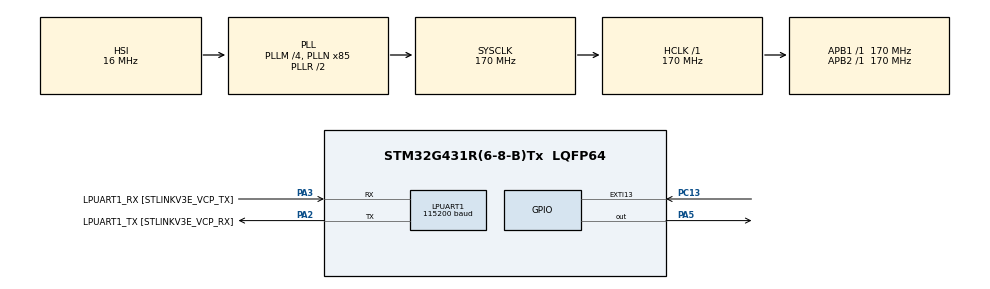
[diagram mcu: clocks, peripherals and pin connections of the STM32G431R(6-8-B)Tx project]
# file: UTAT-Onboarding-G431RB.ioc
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LPUART1.BaudRate=115200
LPUART1.WordLength=UART_WORDLENGTH_8B
Mcu.Family=STM32G4
Mcu.Name=STM32G431R(6-8-B)Tx
Mcu.Package=LQFP64
NVIC.EXTI15_10_IRQn=true\:0\:0\:false\:false\:true\:true\:true\:true
NVIC.PriorityGroup=NVIC_PRIORITYGROUP_4
PA13.GPIO_Label=T_SWDIO
PA13.Mode=Serial_Wire
PA13.Signal=SYS_JTMS-SWDIO
PA14.GPIO_Label=T_SWCLK
PA14.Mode=Serial_Wire
PA14.Signal=SYS_JTCK-SWCLK
PA2.GPIO_Label=LPUART1_TX [STLINKV3E_VCP_RX]
PA2.Mode=Asynchronous
PA2.Signal=LPUART1_TX
PA3.GPIO_Label=LPUART1_RX [STLINKV3E_VCP_TX]
PA3.Mode=Asynchronous
PA3.Signal=LPUART1_RX
PA5.Signal=GPIO_Output
PB3.GPIO_Label=T_SWO
PB3.Signal=SYS_JTDO-SWO
PC13.Signal=GPXTI13
PC14-OSC32_IN.Mode=LSE-External-Oscillator
PC14-OSC32_IN.Signal=RCC_OSC32_IN
PC15-OSC32_OUT.Mode=LSE-External-Oscillator
PC15-OSC32_OUT.Signal=RCC_OSC32_OUT
PF0-OSC_IN.Mode=HSE-External-Oscillator
PF0-OSC_IN.Signal=RCC_OSC_IN
PF1-OSC_OUT.Mode=HSE-External-Oscillator
PF1-OSC_OUT.Signal=RCC_OSC_OUT
ProjectManager.HeapSize=0x200
ProjectManager.StackSize=0x400
ProjectManager.TargetToolchain=STM32CubeIDE
RCC.ADC12Freq_Value=170000000
RCC.AHBFreq_Value=170000000
RCC.APB1Freq_Value=170000000
RCC.APB1TimFreq_Value=170000000
RCC.APB2Freq_Value=170000000
RCC.APB2TimFreq_Value=170000000
RCC.CortexFreq_Value=170000000
RCC.EXTERNAL_CLOCK_VALUE=12288000
RCC.HCLKFreq_Value=170000000
RCC.HSE_VALUE=24000000
RCC.HSI48_VALUE=48000000
RCC.HSI_VALUE=16000000
RCC.PLLM=RCC_PLLM_DIV4
RCC.PLLN=85
RCC.RTCClockSelection=RCC_RTCCLKSOURCE_LSE
RCC.SYSCLKFreq_VALUE=170000000
RCC.SYSCLKSource=RCC_SYSCLKSOURCE_PLLCLK
RCC.USBFreq_Value=170000000
RCC.VCOOutputFreq_Value=340000000
TIM16.Prescaler=8000-1
VP_SYS_VS_DBSignals.Mode=DisableDeadBatterySignals
VP_TIM16_VS_ClockSourceINT.Mode=Enable_Timer
board=NUCLEO-G431RB

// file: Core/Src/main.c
/* USER CODE BEGIN Header */
/**
  ******************************************************************************
  * @file           : main.c
  * @brief          : Main program body
  ******************************************************************************
  * @attention
  *
  * Copyright (c) 2024 STMicroelectronics.
  * All rights reserved.
  *
  * This software is licensed under terms that can be found in the LICENSE file
  * in the root directory of this software component.
  * If no LICENSE file comes with this software, it is provided AS-IS.
  *
  ******************************************************************************
  */
/* USER CODE END Header */
#include "main.h"

UART_HandleTypeDef hlpuart1;

TIM_HandleTypeDef htim16;

void SystemClock_Config(void);
static void MX_GPIO_Init(void);
static void MX_LPUART1_UART_Init(void);
static void MX_TIM16_Init(void);

/* USER CODE BEGIN 0 */
int mode = 0;

void HAL_GPIO_EXTI_Callback(uint16_t GPIO_Pin){
	if(GPIO_Pin == GPIO_PIN_13){
		mode++;
		if(mode == 3){
			mode = 0;
		}
	}
}
/* USER CODE END 0 */

int main(void)
{

  /* MCU Configuration--------------------------------------------------------*/

  /* Reset of all peripherals, Initializes the Flash interface and the Systick. */
  HAL_Init();

  /* Configure the system clock */
  SystemClock_Config();

  /* Initialize all configured peripherals */
  MX_GPIO_Init();
  MX_LPUART1_UART_Init();
  MX_TIM16_Init();
  /* USER CODE BEGIN 2 */

  HAL_TIM_Base_Start_IT(&htim16);
  uint16_t timer_val;
  timer_val = __HAL_TIM_GET_COUNTER(&htim16);

  /* USER CODE END 2 */

  /* Infinite loop */
  /* USER CODE BEGIN WHILE */
  while (1)
  {
	  if (mode == 0){
	  		if(__HAL_TIM_GET_COUNTER(&htim16) - timer_val >= 10000){
	  			HAL_GPIO_TogglePin(GPIOA, GPIO_PIN_5);
	  			timer_val = __HAL_TIM_GET_COUNTER(&htim16);
	  		}
	  }

	  if (mode == 1){
	  	  		if(__HAL_TIM_GET_COUNTER(&htim16) - timer_val >= 5000){
	  	  			HAL_GPIO_TogglePin(GPIOA, GPIO_PIN_5);
	  	  			timer_val = __HAL_TIM_GET_COUNTER(&htim16);
	  	  		}
	  }
	  if (mode == 2){
	  	  		if(__HAL_TIM_GET_COUNTER(&htim16) - timer_val >= 2500){
	  	  			HAL_GPIO_TogglePin(GPIOA, GPIO_PIN_5);
	  	  			timer_val = __HAL_TIM_GET_COUNTER(&htim16);
	  			}
	  }

    /* USER CODE END WHILE */

  }
}
  /* USER CODE END 3 */

void SystemClock_Config(void)
{
  RCC_OscInitTypeDef RCC_OscInitStruct = {0};
  RCC_ClkInitTypeDef RCC_ClkInitStruct = {0};

  /** Configure the main internal regulator output voltage
  */
  HAL_PWREx_ControlVoltageScaling(PWR_REGULATOR_VOLTAGE_SCALE1_BOOST);

  /** Initializes the RCC Oscillators according to the specified parameters
  * in the RCC_OscInitTypeDef structure.
  */
  RCC_OscInitStruct.OscillatorType = RCC_OSCILLATORTYPE_HSI;
  RCC_OscInitStruct.HSIState = RCC_HSI_ON;
  RCC_OscInitStruct.HSICalibrationValue = RCC_HSICALIBRATION_DEFAULT;
  RCC_OscInitStruct.PLL.PLLState = RCC_PLL_ON;
  RCC_OscInitStruct.PLL.PLLSource = RCC_PLLSOURCE_HSI;
  RCC_OscInitStruct.PLL.PLLM = RCC_PLLM_DIV4;
  RCC_OscInitStruct.PLL.PLLN = 85;
  RCC_OscInitStruct.PLL.PLLP = RCC_PLLP_DIV2;
  RCC_OscInitStruct.PLL.PLLQ = RCC_PLLQ_DIV2;
  RCC_OscInitStruct.PLL.PLLR = RCC_PLLR_DIV2;
  if (HAL_RCC_OscConfig(&RCC_OscInitStruct) != HAL_OK)
  {
    Error_Handler();
  }

  /** Initializes the CPU, AHB and APB buses clocks
  */
  RCC_ClkInitStruct.ClockType = RCC_CLOCKTYPE_HCLK|RCC_CLOCKTYPE_SYSCLK
                              |RCC_CLOCKTYPE_PCLK1|RCC_CLOCKTYPE_PCLK2;
  RCC_ClkInitStruct.SYSCLKSource = RCC_SYSCLKSOURCE_PLLCLK;
  RCC_ClkInitStruct.AHBCLKDivider = RCC_SYSCLK_DIV1;
  RCC_ClkInitStruct.APB1CLKDivider = RCC_HCLK_DIV1;
  RCC_ClkInitStruct.APB2CLKDivider = RCC_HCLK_DIV1;

  if (HAL_RCC_ClockConfig(&RCC_ClkInitStruct, FLASH_LATENCY_4) != HAL_OK)
  {
    Error_Handler();
  }
}

static void MX_LPUART1_UART_Init(void)
{

  hlpuart1.Instance = LPUART1;
  hlpuart1.Init.BaudRate = 115200;
  hlpuart1.Init.WordLength = UART_WORDLENGTH_8B;
  hlpuart1.Init.StopBits = UART_STOPBITS_1;
  hlpuart1.Init.Parity = UART_PARITY_NONE;
  hlpuart1.Init.Mode = UART_MODE_TX_RX;
  hlpuart1.Init.HwFlowCtl = UART_HWCONTROL_NONE;
  hlpuart1.Init.OneBitSampling = UART_ONE_BIT_SAMPLE_DISABLE;
  hlpuart1.Init.ClockPrescaler = UART_PRESCALER_DIV1;
  hlpuart1.AdvancedInit.AdvFeatureInit = UART_ADVFEATURE_NO_INIT;
  if (HAL_UART_Init(&hlpuart1) != HAL_OK)
  {
    Error_Handler();
  }
  if (HAL_UARTEx_SetTxFifoThreshold(&hlpuart1, UART_TXFIFO_THRESHOLD_1_8) != HAL_OK)
  {
    Error_Handler();
  }
  if (HAL_UARTEx_SetRxFifoThreshold(&hlpuart1, UART_RXFIFO_THRESHOLD_1_8) != HAL_OK)
  {
    Error_Handler();
  }
  if (HAL_UARTEx_DisableFifoMode(&hlpuart1) != HAL_OK)
  {
    Error_Handler();
  }

}

static void MX_TIM16_Init(void)
{

  htim16.Instance = TIM16;
  htim16.Init.Prescaler = 8000-1;
  htim16.Init.CounterMode = TIM_COUNTERMODE_UP;
  htim16.Init.Period = 65535;
  htim16.Init.ClockDivision = TIM_CLOCKDIVISION_DIV1;
  htim16.Init.RepetitionCounter = 0;
  htim16.Init.AutoReloadPreload = TIM_AUTORELOAD_PRELOAD_DISABLE;
  if (HAL_TIM_Base_Init(&htim16) != HAL_OK)
  {
    Error_Handler();
  }

}

static void MX_GPIO_Init(void)
{
  GPIO_InitTypeDef GPIO_InitStruct = {0};

  /* GPIO Ports Clock Enable */
  __HAL_RCC_GPIOC_CLK_ENABLE();
  __HAL_RCC_GPIOF_CLK_ENABLE();
  __HAL_RCC_GPIOA_CLK_ENABLE();
  __HAL_RCC_GPIOB_CLK_ENABLE();

  /*Configure GPIO pin Output Level */
  HAL_GPIO_WritePin(GPIOA, GPIO_PIN_5, GPIO_PIN_RESET);

  /*Configure GPIO pin : PC13 */
  GPIO_InitStruct.Pin = GPIO_PIN_13;
  GPIO_InitStruct.Mode = GPIO_MODE_IT_FALLING;
  GPIO_InitStruct.Pull = GPIO_NOPULL;
  HAL_GPIO_Init(GPIOC, &GPIO_InitStruct);

  /*Configure GPIO pin : PA5 */
  GPIO_InitStruct.Pin = GPIO_PIN_5;
  GPIO_InitStruct.Mode = GPIO_MODE_OUTPUT_PP;
  GPIO_InitStruct.Pull = GPIO_NOPULL;
  GPIO_InitStruct.Speed = GPIO_SPEED_FREQ_LOW;
  HAL_GPIO_Init(GPIOA, &GPIO_InitStruct);

  /* EXTI interrupt init*/
  HAL_NVIC_SetPriority(EXTI15_10_IRQn, 0, 0);
  HAL_NVIC_EnableIRQ(EXTI15_10_IRQn);

}

void Error_Handler(void)
{
  __disable_irq();
  while (1)
  {
  }
}
